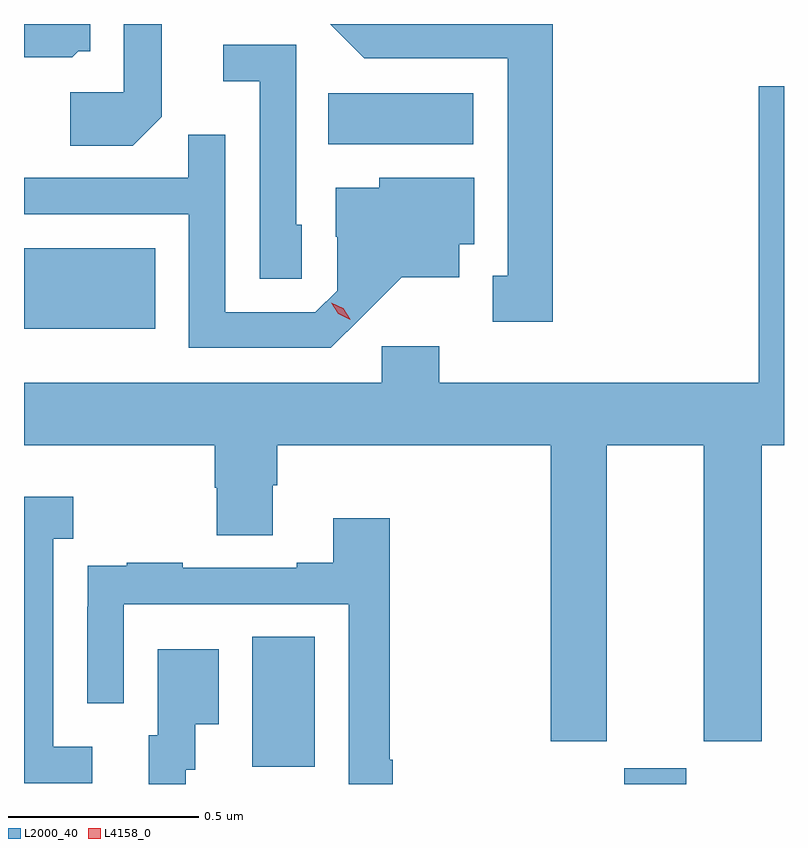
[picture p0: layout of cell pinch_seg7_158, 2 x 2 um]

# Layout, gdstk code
import gdstk
lib = gdstk.Library(unit=1e-6, precision=1e-09)
def R(c, l, rs):  # rectangles x0, y0, x1, y1
    for r in rs: c.add(gdstk.rectangle(r[:2], r[2:], *l))
def P(c, l, *ps):  # polygons
    for p in ps: c.add(gdstk.Polygon(p, *l))
L2000_40 = (2000, 40)
L4158_0 = (4158, 0)

pinch_seg7_158 = lib.new_cell('pinch_seg7_158')
R(pinch_seg7_158, L2000_40, [(1039.022,998.392,1039.186,998.433), (1038.044,998.437,1038.208,998.78), (1037.443,999.59,1037.788,999.802), (1038.244,1000.076,1038.625,1000.21)])
P(pinch_seg7_158, L2000_40, [(1037.586,1000.32),(1037.617,1000.32),(1037.617,1000.392),(1037.443,1000.392),(1037.443,1000.304),(1037.57,1000.304)],
  [(1038.835,1000.392),(1038.249,1000.392),(1038.339,1000.302),(1038.716,1000.302),(1038.716,999.729),(1038.677,999.729),(1038.677,999.609),(1038.835,999.609)],
  [(1037.805,1000.148),(1037.805,1000.392),(1037.706,1000.392),(1037.706,1000.212),(1037.565,1000.212),(1037.565,1000.072),(1037.729,1000.072)],
  [(1038.174,999.864),(1038.159,999.864),(1038.159,1000.338),(1037.967,1000.338),(1037.967,1000.241),(1038.063,1000.241),(1038.063,999.721),(1038.174,999.721)],
  [(1038.976,999.284),(1039.232,999.284),(1039.232,998.505),(1039.385,998.505),(1039.385,999.284),(1039.443,999.284),(1039.443,1000.228),(1039.376,1000.228),(1039.376,999.448),(1038.536,999.448),(1038.536,999.544),(1038.384,999.544),(1038.384,999.448),(1037.443,999.448),(1037.443,999.284),(1037.945,999.284),(1037.945,999.171),(1037.95,999.171),(1037.95,999.046),(1038.097,999.046),(1038.097,999.178),(1038.11,999.178),(1038.11,999.284),(1038.829,999.284),(1038.829,998.505),(1038.976,998.505)],
  [(1038.334,999.623),(1038.437,999.725),(1038.589,999.725),(1038.589,999.812),(1038.628,999.812),(1038.628,999.988),(1038.378,999.988),(1038.378,999.961),(1038.263,999.961),(1038.263,999.832),(1038.267,999.832),(1038.267,999.69),(1038.21,999.633),(1037.973,999.633),(1037.973,1000.1),(1037.875,1000.1),(1037.875,999.987),(1037.443,999.987),(1037.443,999.891),(1037.877,999.891),(1037.877,999.54),(1038.25,999.54)],
  [(1037.623,998.49),(1037.52,998.49),(1037.52,999.038),(1037.572,999.038),(1037.572,999.148),(1037.443,999.148),(1037.443,998.394),(1037.623,998.394)],
  [(1038.413,998.456),(1038.406,998.456),(1038.406,999.091),(1038.257,999.091),(1038.257,998.974),(1038.161,998.974),(1038.161,998.961),(1037.861,998.961),(1037.861,998.974),(1037.713,998.974),(1037.713,998.967),(1037.611,998.967),(1037.611,998.858),(1037.61,998.858),(1037.61,998.604),(1037.706,998.604),(1037.706,998.865),(1038.297,998.865),(1038.297,998.392),(1038.413,998.392)],
  [(1037.868,998.43),(1037.893,998.43),(1037.893,998.549),(1037.956,998.549),(1037.956,998.746),(1037.795,998.746),(1037.795,998.52),(1037.771,998.52),(1037.771,998.392),(1037.868,998.392)])
P(pinch_seg7_158, L4158_0, [(1038.301,999.614),(1038.27,999.629),(1038.252,999.659),(1038.252,999.659),(1038.252,999.659),(1038.283,999.644),(1038.301,999.615),(1038.301,999.614)])

lib.write_gds('pinch_seg7_158.gds')
